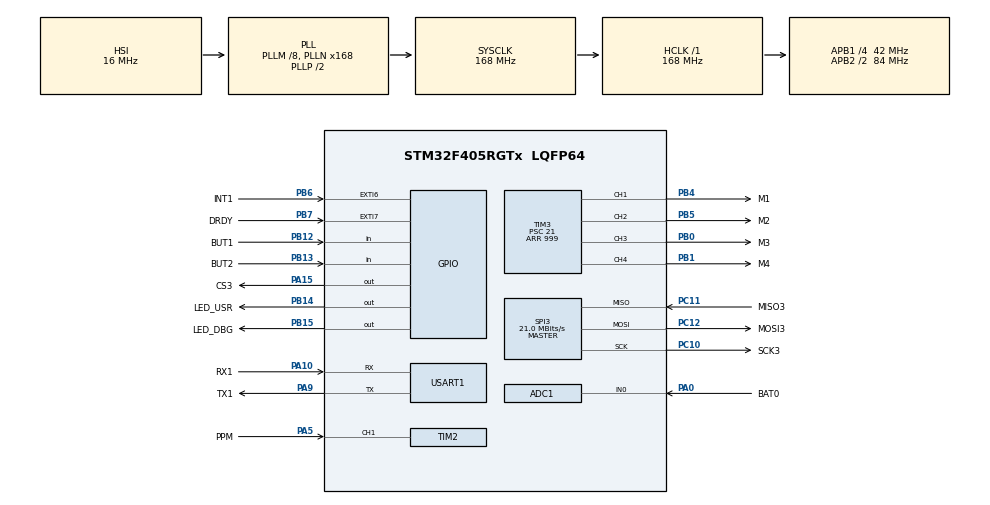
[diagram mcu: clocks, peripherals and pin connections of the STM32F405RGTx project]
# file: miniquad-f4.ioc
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ADC1.Channel-0\#ChannelRegularConversion=ADC_CHANNEL_0
ADC1.NbrOfConversionFlag=1
ADC1.Rank-0\#ChannelRegularConversion=1
ADC1.SamplingTime-0\#ChannelRegularConversion=ADC_SAMPLETIME_3CYCLES
ADC1.master=1
Mcu.Family=STM32F4
Mcu.Name=STM32F405RGTx
Mcu.Package=LQFP64
NVIC.EXTI9_5_IRQn=true\:0\:0\:false\:false\:true\:true\:true
NVIC.PriorityGroup=NVIC_PRIORITYGROUP_4
NVIC.TIM2_IRQn=true\:0\:0\:false\:false\:true\:true\:true
NVIC.TIM8_TRG_COM_TIM14_IRQn=true\:0\:0\:false\:false\:true\:false\:true
NVIC.TimeBase=TIM8_TRG_COM_TIM14_IRQn
NVIC.TimeBaseIP=TIM14
PA0-WKUP.GPIO_Label=BAT0
PA0-WKUP.Signal=ADCx_IN0
PA10.GPIO_Label=RX1
PA10.Mode=Asynchronous
PA10.Signal=USART1_RX
PA15.GPIO_Label=CS3
PA15.Signal=GPIO_Output
PA5.GPIO_Label=PPM
PA5.Signal=S_TIM2_CH1_ETR
PA9.GPIO_Label=TX1
PA9.Mode=Asynchronous
PA9.Signal=USART1_TX
PB0.GPIO_Label=M3
PB0.Signal=S_TIM3_CH3
PB1.GPIO_Label=M4
PB1.Signal=S_TIM3_CH4
PB12.GPIO_Label=BUT1
PB12.Signal=GPIO_Input
PB13.GPIO_Label=BUT2
PB13.Signal=GPIO_Input
PB14.GPIO_Label=LED_USR
PB14.Signal=GPIO_Output
PB15.GPIO_Label=LED_DBG
PB15.Signal=GPIO_Output
PB4.GPIO_Label=M1
PB4.Signal=S_TIM3_CH1
PB5.GPIO_Label=M2
PB5.Signal=S_TIM3_CH2
PB6.GPIO_Label=INT1
PB6.Signal=GPXTI6
PB7.GPIO_Label=DRDY
PB7.Signal=GPXTI7
PC10.GPIO_Label=SCK3
PC10.Mode=Full_Duplex_Master
PC10.Signal=SPI3_SCK
PC11.GPIO_Label=MISO3
PC11.Mode=Full_Duplex_Master
PC11.Signal=SPI3_MISO
PC12.GPIO_Label=MOSI3
PC12.Mode=Full_Duplex_Master
PC12.Signal=SPI3_MOSI
ProjectManager.HeapSize=0x200
ProjectManager.StackSize=0x400
ProjectManager.TargetToolchain=STM32CubeIDE
RCC.48MHZClocksFreq_Value=84000000
RCC.AHBFreq_Value=168000000
RCC.APB1CLKDivider=RCC_HCLK_DIV4
RCC.APB1Freq_Value=42000000
RCC.APB1TimFreq_Value=84000000
RCC.APB2CLKDivider=RCC_HCLK_DIV2
RCC.APB2Freq_Value=84000000
RCC.APB2TimFreq_Value=168000000
RCC.CortexFreq_Value=168000000
RCC.HCLKFreq_Value=168000000
RCC.HSE_VALUE=25000000
RCC.HSI_VALUE=16000000
RCC.LSE_VALUE=32768
RCC.PLLM=8
RCC.PLLN=168
RCC.SYSCLKFreq_VALUE=168000000
RCC.SYSCLKSource=RCC_SYSCLKSOURCE_PLLCLK
RCC.VCOOutputFreq_Value=336000000
SH.ADCx_IN0.0=ADC1_IN0,IN0
SH.S_TIM2_CH1_ETR.0=TIM2_CH1,Input_Capture1_from_TI1
SH.S_TIM3_CH1.0=TIM3_CH1,PWM Generation1 CH1
SH.S_TIM3_CH2.0=TIM3_CH2,PWM Generation2 CH2
SH.S_TIM3_CH3.0=TIM3_CH3,PWM Generation3 CH3
SH.S_TIM3_CH4.0=TIM3_CH4,PWM Generation4 CH4
SPI3.CalculateBaudRate=21.0 MBits/s
SPI3.Direction=SPI_DIRECTION_2LINES
SPI3.Mode=SPI_MODE_MASTER
SPI3.VirtualType=VM_MASTER
TIM2.Channel-Input_Capture1_from_TI1=TIM_CHANNEL_1
TIM2.Period=0xFFFF
TIM2.Prescaler=83
TIM3.Channel-PWM\ Generation1\ CH1=TIM_CHANNEL_1
TIM3.Channel-PWM\ Generation2\ CH2=TIM_CHANNEL_2
TIM3.Channel-PWM\ Generation3\ CH3=TIM_CHANNEL_3
TIM3.Channel-PWM\ Generation4\ CH4=TIM_CHANNEL_4
TIM3.Period=999
TIM3.Prescaler=21
TIM7.Period=0xFFFF
TIM7.Prescaler=83
USART1.VirtualMode=VM_ASYNC
VP_SYS_VS_tim14.Mode=TIM14
VP_TIM7_VS_ClockSourceINT.Mode=Enable_Timer
board=custom

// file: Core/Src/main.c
/* USER CODE BEGIN Header */
/**
 ******************************************************************************
 * @file           : main.c
 * @brief          : Main program body
 ******************************************************************************
 * @attention
 *
 * <h2><center>&copy; Copyright (c) 2020 STMicroelectronics.
 * All rights reserved.</center></h2>
 *
 * This software component is licensed by ST under BSD 3-Clause license,
 * the "License"; You may not use this file except in compliance with the
 * License. You may obtain a copy of the License at:
 *                        opensource.org/licenses/BSD-3-Clause
 *
 ******************************************************************************
 */
/* USER CODE END Header */

#include "main.h"
#include "adc.h"
#include "spi.h"
#include "tim.h"
#include "usart.h"
#include "gpio.h"

/* USER CODE BEGIN Includes */
#include <stdio.h>
#include "l3g4.h"
#include "pid.h"
#include "ppm.h"
/* USER CODE END Includes */

/* USER CODE BEGIN PM */
#define DEBUG_LED_EN	0

#define DEBUG_SS_RAW_EN	0
#define DEBUG_SS_FIL_EN	0

#define DEBUG_RAW_RECV_EN	0
#define DEBUG_MAP_RECV_EN	0

#define DEBUG_PID_EN	0
#define DEBUG_MOTOR_EN	0

#define SET_MOTOR_1(value)	(htim3.Instance->CCR1=(uint16_t)value)
#define SET_MOTOR_2(value)	(htim3.Instance->CCR2=(uint16_t)value)
#define SET_MOTOR_3(value)	(htim3.Instance->CCR3=(uint16_t)value)
#define SET_MOTOR_4(value)	(htim3.Instance->CCR4=(uint16_t)value)

#define MAX_MOTOR_VALUE		999
//====================[P]=======[I]=======[D]====//
#define ROLL_PID	4.4,	0.0,	0.03
#define PITCH_PID	4.4,	0.0,	0.03
#define YAW_PID		6.0,	0.0,	0.0

/* USER CODE END PM */

/* USER CODE BEGIN PV */
L3G4_t L3G4;
ppm_t ppm;
/* USER CODE END PV */

void SystemClock_Config(void);

/* USER CODE BEGIN 0 */
int _write(int file, char *ptr, int len) {
	(void) file;
	if (HAL_OK
			!= HAL_UART_Transmit(&huart1, (uint8_t*) ptr, len, HAL_MAX_DELAY)) {
		return 0;
	}
	return len;
}

int32_t map(int32_t value, int32_t input_min, int32_t input_max,
		int32_t output_min, int32_t output_max);
/* USER CODE END 0 */

int main(void) {

	/* MCU Configuration--------------------------------------------------------*/

	/* Reset of all peripherals, Initializes the Flash interface and the Systick. */
	HAL_Init();

	/* Configure the system clock */
	SystemClock_Config();

	/* Initialize all configured peripherals */
	MX_GPIO_Init();
	MX_ADC1_Init();
	MX_SPI3_Init();
	MX_TIM2_Init();
	MX_TIM3_Init();
	MX_USART1_UART_Init();
	MX_TIM7_Init();
	/* USER CODE BEGIN 2 */
	printf("[MINIQUAD STARTED]\n");
	HAL_GPIO_WritePin(LED_USR_GPIO_Port, LED_USR_Pin, GPIO_PIN_RESET);
	HAL_GPIO_WritePin(LED_DBG_GPIO_Port, LED_DBG_Pin, GPIO_PIN_RESET);

	printf("Starting Timer base\n");
	HAL_TIM_Base_Start(&htim7);

	printf("Starting PPM decoder\n");
	PPM_Init(&ppm, 8);
	PPM_InstallDriver(&ppm, &htim2, TIM_CHANNEL_1);
	PPM_Start(&ppm);

	printf("Starting PWM\n");
	HAL_TIM_PWM_Start(&htim3, TIM_CHANNEL_1);
	HAL_TIM_PWM_Start(&htim3, TIM_CHANNEL_2);
	HAL_TIM_PWM_Start(&htim3, TIM_CHANNEL_3);
	HAL_TIM_PWM_Start(&htim3, TIM_CHANNEL_4);

	SET_MOTOR_1(0);
	SET_MOTOR_2(0);
	SET_MOTOR_3(0);
	SET_MOTOR_4(0);

	printf("Setting sensor\n");
	L3G4_Init(&L3G4);
	L3G4_InstallDriver(&L3G4, &hspi3);
	L3G4_InstallGPIO(&L3G4, CS3_GPIO_Port, CS3_Pin, DRDY_Pin);
	while (L3G4_OK != L3G4_CheckConnect(&L3G4)) {
		HAL_GPIO_WritePin(LED_DBG_GPIO_Port, LED_DBG_Pin, GPIO_PIN_SET);
		HAL_Delay(50);
		HAL_GPIO_WritePin(LED_DBG_GPIO_Port, LED_DBG_Pin, GPIO_PIN_RESET);
		HAL_Delay(1000);
	}
	HAL_GPIO_WritePin(LED_DBG_GPIO_Port, LED_DBG_Pin, GPIO_PIN_RESET);
	printf("Configuring sensor\n");
	L3G4_Config(&L3G4);

	printf("Calibrating sensor\n");
//	L3G4_Calib(&L3G4, 500);
	printf("Calibrating finished: %d, %d, %d\n",
			(int16_t) L3G4_GetCalibX(&L3G4), (int16_t) L3G4_GetCalibY(&L3G4),
			(int16_t) L3G4_GetCalibZ(&L3G4));

	/* USER CODE END 2 */

	/* Infinite loop */
	/* USER CODE BEGIN WHILE */
#if DEBUG_LED_EN == 1
	uint32_t lastLedTime = 0;
#endif

#if DEBUG_SS_RAW_EN == 1
	uint32_t lastSSRawTime = 0;
#endif

#if DEBUG_SS_FIL_EN == 1
	uint32_t lastSSFilterTime = 0;
#endif

#if	DEBUG_RAW_RECV_EN == 1
	uint32_t lastRawRecvTime = 0;
#endif

#if	DEBUG_MAP_RECV_EN == 1
	uint32_t lastMapRecvTime = 0;
#endif

#if DEBUG_PID_EN == 1
	uint32_t lastPidTime = 0;
#endif

#if DEBUG_MOTOR_EN == 1
	uint32_t lastMotorTime = 0;
#endif

	float dT;
	uint32_t lastT = 0, T;
	int16_t motorValue1, motorValue2, motorValue3, motorValue4;
	pidHelper_t pidRoll, pidPitch, pidYaw;
	float outputRoll, outputPitch, outputYaw;
	float readRoll, readPitch, readYaw;
	float inRoll = 0, inPitch = 0, inYaw = 0;
	float setRoll = 0, setPitch = 0, setYaw = 0, setThr = 0, setOffset = 0;

	printf("Setting PID\n");
	PID_Setup(&pidRoll, ROLL_PID, MAX_MOTOR_VALUE);
	PID_Setup(&pidPitch, PITCH_PID, MAX_MOTOR_VALUE);
	PID_Setup(&pidYaw, YAW_PID, MAX_MOTOR_VALUE);

	while (1) {
		if (L3G4_OK == L3G4_CheckDataAvailable(&L3G4)) {

			L3G4_ReadAll(&L3G4);

			/* Calculate dT */
			T = __HAL_TIM_GET_COUNTER(&htim7);
			if (T > lastT)
				dT = (float) (T - lastT) / 1000000.0;
			else
				dT = (float) (0xFFFF - lastT + T + 1) / 1000000.0;
			lastT = T;

			/* Get last data storage */
			readRoll = L3G4_GetLastX(&L3G4);
			readPitch = L3G4_GetLastY(&L3G4);
			readYaw = L3G4_GetLastZ(&L3G4);
			inRoll = inRoll * 0.0 + (readRoll * 1);
			inPitch = inPitch * 0.0 + (readPitch * 1);
			inYaw = inYaw * 0.0 + (readYaw * 1);

#if DEBUG_SS_RAW_EN == 1
			if (HAL_GetTick() - lastSSRawTime >= 20) {
				lastSSRawTime = HAL_GetTick();
				printf("%d, %d, %d\n", (int16_t) inRoll, (int16_t) inPitch,
						(int16_t) inYaw);
			}
#endif

#if DEBUG_SS_FIL_EN == 1
			if (HAL_GetTick() - lastSSFilterTime >= 20) {
				lastSSFilterTime = HAL_GetTick();
				printf("%d, %d, %d\n", (int16_t) readRoll, (int16_t) readPitch,
						(int16_t) readYaw);
			}
#endif
			setOffset = PPM_GetValue(&ppm, 7);
			if (setOffset == 0) {
				setRoll = setPitch = setYaw = setThr = 0;
			} else {
				setRoll = PPM_GetValue(&ppm, 0) - setOffset;
				setRoll = map(setRoll, -500, 500, -30, 30);
				setPitch = PPM_GetValue(&ppm, 1) - setOffset;
				setPitch = map(setPitch, -500, 500, -30, 30);
				setYaw = PPM_GetValue(&ppm, 3) - setOffset;
				setYaw = map(setYaw, -500, 500, 30, -30);
				setThr = PPM_GetValue(&ppm, 2) - setOffset + 500;
			}

#if DEBUG_RAW_RECV_EN == 1
			if (HAL_GetTick() - lastRawRecvTime >= 20) {
				lastRawRecvTime = HAL_GetTick();
				printf("%d, %d, %d, %d, %d, %d, %d, %d\n", PPM_GetValue(&ppm, 0), PPM_GetValue(&ppm, 1),
						PPM_GetValue(&ppm, 2), PPM_GetValue(&ppm, 3), PPM_GetValue(&ppm, 4),
						PPM_GetValue(&ppm, 5), PPM_GetValue(&ppm, 6), PPM_GetValue(&ppm, 7));
			}
#endif

#if DEBUG_MAP_RECV_EN == 1
			if (HAL_GetTick() - lastMapRecvTime >= 20) {
				lastMapRecvTime = HAL_GetTick();
				printf("%d, %d, %d, %d\n", (int16_t) setRoll,
						(int16_t) setPitch, (int16_t) setYaw, (int16_t) setThr);
			}
#endif

			outputRoll = PID_Calculate(&pidRoll, inRoll, setRoll, dT);
			outputPitch = PID_Calculate(&pidPitch, inPitch, setPitch, dT);
			outputYaw = PID_Calculate(&pidYaw, inYaw, setYaw, dT);

#if DEBUG_PID_EN == 1
			if (HAL_GetTick() - lastPidTime >= 20) {
				lastPidTime = HAL_GetTick();
				printf("%ld, %ld, %ld\n", (int32_t) outputRoll,
						(int32_t) outputPitch, (int32_t) outputYaw);
			}
#endif

			motorValue1 = setThr + (+outputRoll / 2.0) + (-outputPitch / 2.0)
					+ (-outputYaw / 2.0);
			motorValue2 = setThr + (-outputRoll / 2.0) + (-outputPitch / 2.0)
					+ (+outputYaw / 2.0);
			motorValue3 = setThr + (-outputRoll / 2.0) + (+outputPitch / 2.0)
					+ (-outputYaw / 2.0);
			motorValue4 = setThr + (+outputRoll / 2.0) + (+outputPitch / 2.0)
					+ (+outputYaw / 2.0);

			/* Limit motor value */
			if (setThr < 200) {
				motorValue1 = motorValue2 = motorValue3 = motorValue4 = 0;
			}

			if (motorValue1 > 999) {
				HAL_GPIO_WritePin(LED_USR_GPIO_Port, LED_USR_Pin, GPIO_PIN_SET);
				motorValue1 = 999;
			} else if (motorValue1 < 200) {
				motorValue1 = 0;
			}

			if (motorValue2 > 999) {
				HAL_GPIO_WritePin(LED_USR_GPIO_Port, LED_USR_Pin, GPIO_PIN_SET);
				motorValue2 = 999;
			} else if (motorValue2 < 200) {
				motorValue2 = 0;
			}

			if (motorValue3 > 999) {
				HAL_GPIO_WritePin(LED_USR_GPIO_Port, LED_USR_Pin, GPIO_PIN_SET);
				motorValue3 = 999;
			} else if (motorValue3 < 200) {
				motorValue3 = 0;
			}

			if (motorValue4 > 999) {
				HAL_GPIO_WritePin(LED_USR_GPIO_Port, LED_USR_Pin, GPIO_PIN_SET);
				motorValue4 = 999;
			} else if (motorValue4 < 200) {
				motorValue4 = 0;
			}

			SET_MOTOR_1(motorValue1);
			SET_MOTOR_2(motorValue2);
			SET_MOTOR_3(motorValue3);
			SET_MOTOR_4(motorValue4);

#if DEBUG_MOTOR_EN == 1
			if (HAL_GetTick() - lastMotorTime >= 20) {
				lastMotorTime = HAL_GetTick();
				printf("%d, %d, %d, %d\n", (int16_t) motorValue1,
						(int16_t) motorValue2, (int16_t) motorValue3,
						(int16_t) motorValue4);
			}
#endif

#if DEBUG_LED_EN == 1
		if (HAL_GetTick() - lastLedTime >= 1000) {
			lastLedTime = HAL_GetTick();

			HAL_GPIO_TogglePin(LED_DBG_GPIO_Port, LED_DBG_Pin);
		}
#endif
		}
		/* USER CODE END WHILE */

	}
}

void SystemClock_Config(void) {
	RCC_OscInitTypeDef RCC_OscInitStruct = { 0 };
	RCC_ClkInitTypeDef RCC_ClkInitStruct = { 0 };

	/** Configure the main internal regulator output voltage
	 */
	__HAL_RCC_PWR_CLK_ENABLE();
	__HAL_PWR_VOLTAGESCALING_CONFIG(PWR_REGULATOR_VOLTAGE_SCALE1);
	/** Initializes the CPU, AHB and APB busses clocks
	 */
	RCC_OscInitStruct.OscillatorType = RCC_OSCILLATORTYPE_HSI;
	RCC_OscInitStruct.HSIState = RCC_HSI_ON;
	RCC_OscInitStruct.HSICalibrationValue = RCC_HSICALIBRATION_DEFAULT;
	RCC_OscInitStruct.PLL.PLLState = RCC_PLL_ON;
	RCC_OscInitStruct.PLL.PLLSource = RCC_PLLSOURCE_HSI;
	RCC_OscInitStruct.PLL.PLLM = 8;
	RCC_OscInitStruct.PLL.PLLN = 168;
	RCC_OscInitStruct.PLL.PLLP = RCC_PLLP_DIV2;
	RCC_OscInitStruct.PLL.PLLQ = 4;
	if (HAL_RCC_OscConfig(&RCC_OscInitStruct) != HAL_OK) {
		Error_Handler();
	}
	/** Initializes the CPU, AHB and APB busses clocks
	 */
	RCC_ClkInitStruct.ClockType = RCC_CLOCKTYPE_HCLK | RCC_CLOCKTYPE_SYSCLK
			| RCC_CLOCKTYPE_PCLK1 | RCC_CLOCKTYPE_PCLK2;
	RCC_ClkInitStruct.SYSCLKSource = RCC_SYSCLKSOURCE_PLLCLK;
	RCC_ClkInitStruct.AHBCLKDivider = RCC_SYSCLK_DIV1;
	RCC_ClkInitStruct.APB1CLKDivider = RCC_HCLK_DIV4;
	RCC_ClkInitStruct.APB2CLKDivider = RCC_HCLK_DIV2;

	if (HAL_RCC_ClockConfig(&RCC_ClkInitStruct, FLASH_LATENCY_5) != HAL_OK) {
		Error_Handler();
	}
}

/* USER CODE BEGIN 4 */
void HAL_GPIO_EXTI_Callback(uint16_t GPIO_Pin) {
	if (GPIO_Pin == DRDY_Pin) {
		L3G4_InterruptCallback(&L3G4, GPIO_Pin);
	}
}

void HAL_TIM_IC_CaptureCallback(TIM_HandleTypeDef *htim) {
	if (htim->Channel == HAL_TIM_ACTIVE_CHANNEL_1) {
		PPM_InterruptCallback(&ppm);
	}
}

int32_t map(int32_t value, int32_t input_min, int32_t input_max,
		int32_t output_min, int32_t output_max) {
	int32_t v1 = (value - input_min) * 1000 / (input_max - input_min);
	int32_t v2 = v1 * (output_max - output_min) / 1000;
	return v2 + output_min;
}
/* USER CODE END 4 */

void HAL_TIM_PeriodElapsedCallback(TIM_HandleTypeDef *htim) {
	if (htim->Instance == TIM14) {
		HAL_IncTick();
	}
}

void Error_Handler(void) {
	/* USER CODE BEGIN Error_Handler_Debug */
	/* User can add his own implementation to report the HAL error return state */
	while (1) {
		HAL_GPIO_TogglePin(LED_DBG_GPIO_Port, LED_DBG_Pin);
		HAL_Delay(200);
	}
	/* USER CODE END Error_Handler_Debug */
}

/************************ (C) COPYRIGHT STMicroelectronics *****END OF FILE****/
